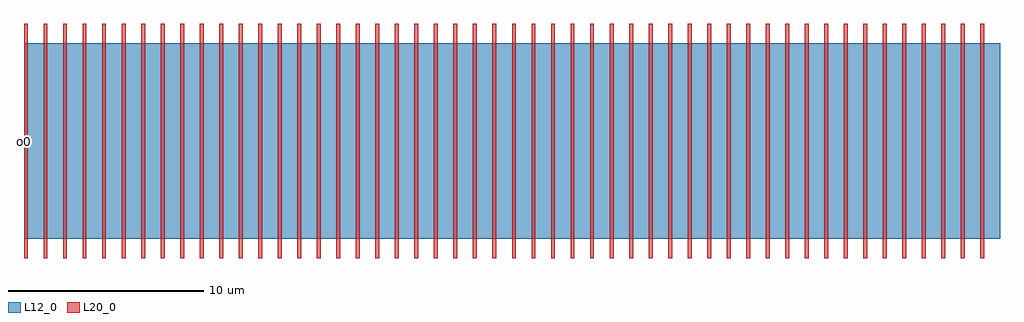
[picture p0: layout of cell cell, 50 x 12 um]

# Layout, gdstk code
import gdstk
lib = gdstk.Library(unit=1e-6, precision=1e-09)
def R(c, l, rs):  # rectangles x0, y0, x1, y1
    for r in rs: c.add(gdstk.rectangle(r[:2], r[2:], *l))
def A(c, l, x, y, w, h, nx, ny, dx, dy):  # array of equal rectangles
    R(c, l, [(x+i*dx, y+j*dy, x+i*dx+w, y+j*dy+h) for i in range(nx) for j in range(ny)])
L12_0 = (12, 0)
L20_0 = (20, 0)

cell = lib.new_cell('cell')
R(cell, L12_0, [(0,-5,50,5)])
A(cell, L20_0, 0, -6, 0.2, 12, 50, 1, 1, 0)
cell.add(gdstk.Label('o0', (0,0), layer=0, texttype=0))

lib.write_gds('cell.gds')
